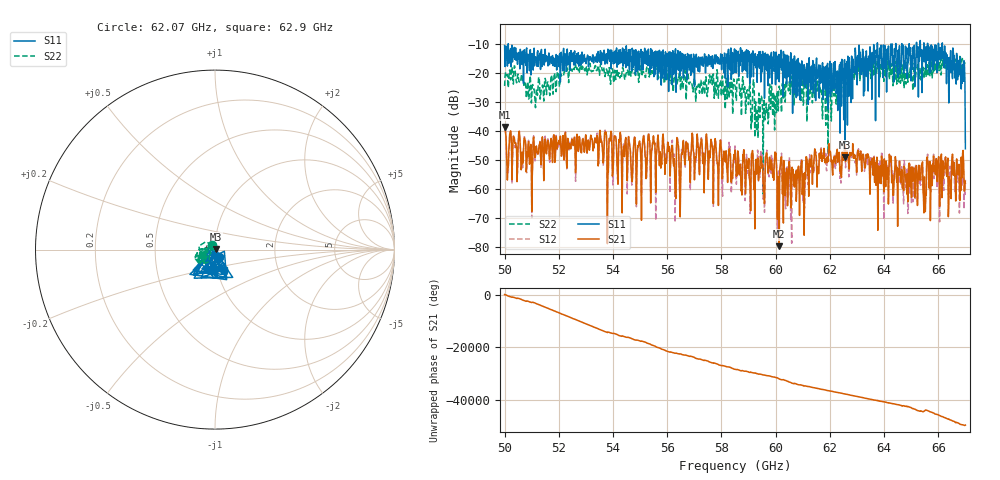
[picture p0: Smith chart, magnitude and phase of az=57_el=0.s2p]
!Created with skrf (http://scikit-rf.org).
# GHz S RI R 50.0
!freq ReS11 ImS11 ReS21 ImS21 ReS12 ImS12 ReS22 ImS22
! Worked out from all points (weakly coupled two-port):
!   1001 points, 50 GHz to 67 GHz, reference 50 ohm
!   highest |S21| = -38.66 dB at 50 GHz (marker M1); lowest = -79.8 dB at 60.13 GHz (marker M2)
!   lowest |S11| = -49.2 dB at 62.56 GHz (marker M3), VSWR 1.01, Z = 50.3 + j0.0768 ohm
!   |S11| at or under -10 dB: 50.14 GHz to 63.75 GHz (13.61 GHz wide, 23.9 % of centre); 63.75 GHz to 64.25 GHz (491.1 MHz wide, 0.767 % of centre); 66.15 GHz to end of sweep (the widest 3 of 14)
!   |S22| runs from -61.8 to -14.2 dB; largest |S21 - S12| = 0.0021
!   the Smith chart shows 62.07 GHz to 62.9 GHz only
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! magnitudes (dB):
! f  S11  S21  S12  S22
! 50 GHz  -10.5  -38.7  -39.1  -24.5
! 50.1 GHz  -17.6  -57.0  -54.5  -20.5
! 50.95 GHz  -11.9  -46.5  -46.4  -21.8
! 52.84 GHz  -14.9  -47.5  -46.4  -19.2
! 55.68 GHz  -14.0  -44.2  -44.9  -21.8
! 56.24 GHz  -20.4  -52.1  -51.1  -23.7
! 58.5 GHz  -19.8  -46.7  -45.2  -24.5
! 59.42 GHz  -14.0  -54.2  -56.0  -35.4
! 59.61 GHz  -13.3  -56.9  -62.7  -36.2
! 59.96 GHz  -17.8  -49.3  -49.6  -39.7
! 60.13 GHz  -23.0  -79.8  -58.6  -24.5
! 60.97 GHz  -15.8  -50.2  -49.9  -22.3
! 61.34 GHz  -23.6  -50.9  -52.9  -26.7
! 62 GHz  -15.9  -46.9  -49.1  -25.8
! 62.56 GHz  -49.2  -44.7  -46.0  -19.9
! 63.01 GHz  -24.0  -49.8  -48.3  -20.5
! 64.18 GHz  -17.3  -55.0  -53.7  -18.4
! 65.33 GHz  -8.7  -56.6  -58.2  -18.9
! 65.47 GHz  -9.5  -68.3  -60.6  -18.7
! 66.08 GHz  -15.3  -57.9  -53.3  -15.7
! 66.9 GHz  -17.0  -47.7  -47.7  -15.2
! 67 GHz  -46.1  -58.1  -56.9  -15.3
